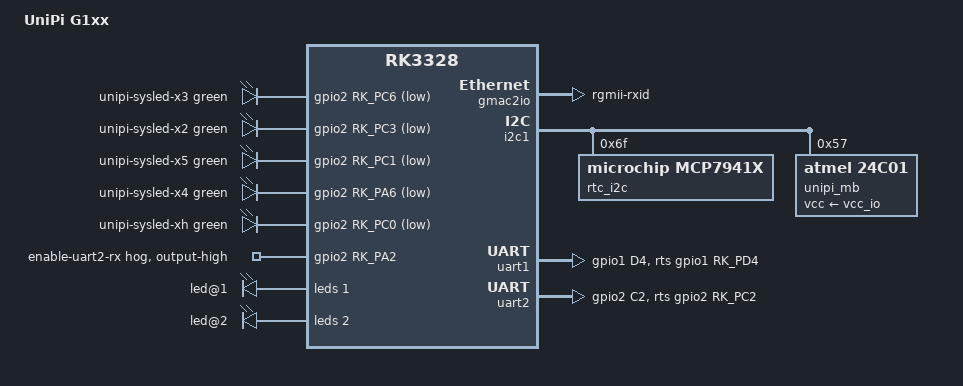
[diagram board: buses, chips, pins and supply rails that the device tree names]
// SPDX-License-Identifier: (GPL-2.0+ OR MIT)
/*
 * (C) Copyright 2026 Unipi Technology s.r.o.
 *
 * Based on ./rk3328-rock-pi-e.dts
 */

/dts-v1/;
#include "rk3328-rock-pi-e.dts"

/ {
	model = "UniPi G1xx";
	compatible = "unipi,g1", "rockchip,rk3328";

	aliases {
		ethernet0 = &gmac2phy;
		ethernet1 = &gmac2io;
	};

	/delete-node/ chosen;

	gpio-leds {
		compatible = "gpio-leds";

		user-led@1 {
			label = "unipi-sysled-x3";
			color = <LED_COLOR_ID_GREEN>;
			pinctrl-names = "default";
			pinctrl-0 = <&unipi_led1>;
			gpios = <&gpio2 RK_PC6 GPIO_ACTIVE_LOW>;
			default-state = "off";
			//ttyS2-rx
			linux,default-trigger = "tty";
		};

		user-led@2 {
			label = "unipi-sysled-x2";
			color = <LED_COLOR_ID_GREEN>;
			pinctrl-names = "default";
			pinctrl-0 = <&unipi_led2>;
			gpios = <&gpio2 RK_PC3 GPIO_ACTIVE_LOW>;
			default-state = "off";
			// ttyS2-tx
			linux,default-trigger = "tty";
		};

		user-led@3 {
			label = "unipi-sysled-x5";
			color = <LED_COLOR_ID_GREEN>;
			pinctrl-names = "default";
			pinctrl-0 = <&unipi_led3>;
			gpios = <&gpio2 RK_PC1 GPIO_ACTIVE_LOW>;
			default-state = "off";
			// ttyS1-rx
			linux,default-trigger = "tty";
		};

		user-led@4 {
			label = "unipi-sysled-x4";
			color = <LED_COLOR_ID_GREEN>;
			pinctrl-names = "default";
			pinctrl-0 = <&unipi_led4>;
			gpios = <&gpio2 RK_PA6 GPIO_ACTIVE_LOW>;
			default-state = "off";
			// ttyS1-tx
			linux,default-trigger = "tty";
		};

		user-led@5 {
			label = "unipi-sysled-xh";
			color = <LED_COLOR_ID_GREEN>;
			pinctrl-names = "default";
			pinctrl-0 = <&unipi_led5>;
			gpios = <&gpio2 RK_PC0 GPIO_ACTIVE_LOW>;
			default-state = "on";
			linux,default-trigger = "heartbeat";
		};
	};

	unipi_id: unipi-id {
		compatible = "unipi,unipi-id";
		nvmem = <&unipi_mb>;
		nvmem-names = "plcid0";
		id-channel = <&i2c1>;
	};

	/delete-node/ vcc_wifi;
};

&analog_sound {
	status = "disabled";
};

&codec {
	status = "disabled";
};

&cpu0_opp_table {
	/delete-node/ opp-816000000;
	/delete-node/ opp-1008000000;
	/delete-node/ opp-1200000000;
	/delete-node/ opp-1296000000;
};

&gmac2io {
/delete-property/ snps,aal;
/delete-property/ snps,rxpbl;
phy-mode = "rgmii-rxid";
};

&gmac2phy {
	tx_delay = <0x26>;
	rx_delay = <0x11>;
};

&gpio2 {
	enable_uart2_rx {
		gpio-hog;
		//pinctrl-names = "default";
		//pinctrl-0 = <&uart2_enable>;
		gpios = <RK_PA2 GPIO_ACTIVE_HIGH>;
		output-high;
		line-name = "enable-uart2-rx";
	};
};

&i2c1 {
	rtc_i2c: rtc@6f {
		compatible = "microchip,mcp7941x";
		reg = <0x6f>;
		/*
		interrupt-parent = <&gpio2>;
		interrupts = <20 IRQ_TYPE_LEVEL_LOW>;
		pinctrl-names = "default";
		pinctrl-0 = <&rtc_int>;
		*/
	};

	unipi_mb: neuronee@57 {
		compatible = "atmel,24c01";
		reg = <0x57>;
		vcc-supply = <&vcc_io>;
	};
};

&pinctrl {
	uart1_unipi {
		uart1_rts_unipi: uart1-rts-unipi {
			rockchip,pins = <1 RK_PD4 RK_FUNC_GPIO &pcfg_pull_down>;
		};
	};
	uart2_unipi {
		uart2_rts_unipi: uart2-rts-unipi {
			rockchip,pins = <2 RK_PC2 RK_FUNC_GPIO &pcfg_pull_down>;
		};
	};
	uart2hog_unipi {
		uart2_enable: uart2-enable {
			rockchip,pins = <2 RK_PA2 RK_FUNC_GPIO &pcfg_pull_down>;
		};
	};

	unipi_leds {
		unipi_led1: unipi-led1 {
			rockchip,pins = <2 RK_PC6 RK_FUNC_GPIO &pcfg_pull_up>;
		};
		unipi_led2: unipi-led2 {
			rockchip,pins = <2 RK_PC3 RK_FUNC_GPIO &pcfg_pull_up>;
		};
		unipi_led3: unipi-led3 {
			rockchip,pins = <2 RK_PC1 RK_FUNC_GPIO &pcfg_pull_up>;
		};
		unipi_led4: unipi-led4 {
			rockchip,pins = <2 RK_PA6 RK_FUNC_GPIO &pcfg_pull_up>;
		};
		unipi_led5: unipi-led5 {
			rockchip,pins = <2 RK_PC0 RK_FUNC_GPIO &pcfg_pull_up>;
		};
	};
	i2c_rtc {
		rtc_int: rtc-int {
			rockchip,pins = <2 RK_PC4 RK_FUNC_GPIO &pcfg_pull_up>;
		};
	};
};

&rtl8211 {
	leds {
		#address-cells = <1>;
		#size-cells = <0>;

		/* LEDs 0+1 apply for RTL8211E
		        1+2 apply for RTL8211F
				we prefer the later one, E has desired mode already
		led@0 {
			reg = <0>;
			color = <LED_COLOR_ID_YELLOW>;
			function = LED_FUNCTION_LAN;
			linux,default-trigger = "netdev";
		};*/

		led@1 {
			reg = <1>;
			color = <LED_COLOR_ID_GREEN>;
			function = LED_FUNCTION_LAN;
		};

		led@2 {
			reg = <2>;
			color = <LED_COLOR_ID_YELLOW>;
			function = LED_FUNCTION_LAN;
		};
	};
};

&saradc {
	status = "disabled";
};

&tsadc {
	rockchip,hw-tshut-mode = <1>;
	rockchip,hw-tshut-polarity = <1>;
};

&uart1 {
	/delete-property/ dmas;
	pinctrl-names = "default";
	pinctrl-0 = <&uart1_xfer &uart1_rts_unipi>;
	linux,rs485-enabled-at-boot-time;
	rts-gpios = <&gpio1 RK_PD4 GPIO_ACTIVE_HIGH>;
	status = "okay";
};
&uart2 {
	/delete-property/ dmas;
	pinctrl-names = "default";
	pinctrl-0 = <&uart2m1_xfer &uart2_rts_unipi>;
	linux,rs485-enabled-at-boot-time;
	rts-gpios = <&gpio2 RK_PC2 GPIO_ACTIVE_HIGH>;
	status = "okay";
};

&u2phy_otg {
	status = "disabled";
};

&usb20_otg {
	status = "disabled";
};

&usb_host0_ehci {
	status = "disabled";
};

&usb_host0_ohci {
	status = "disabled";
};
